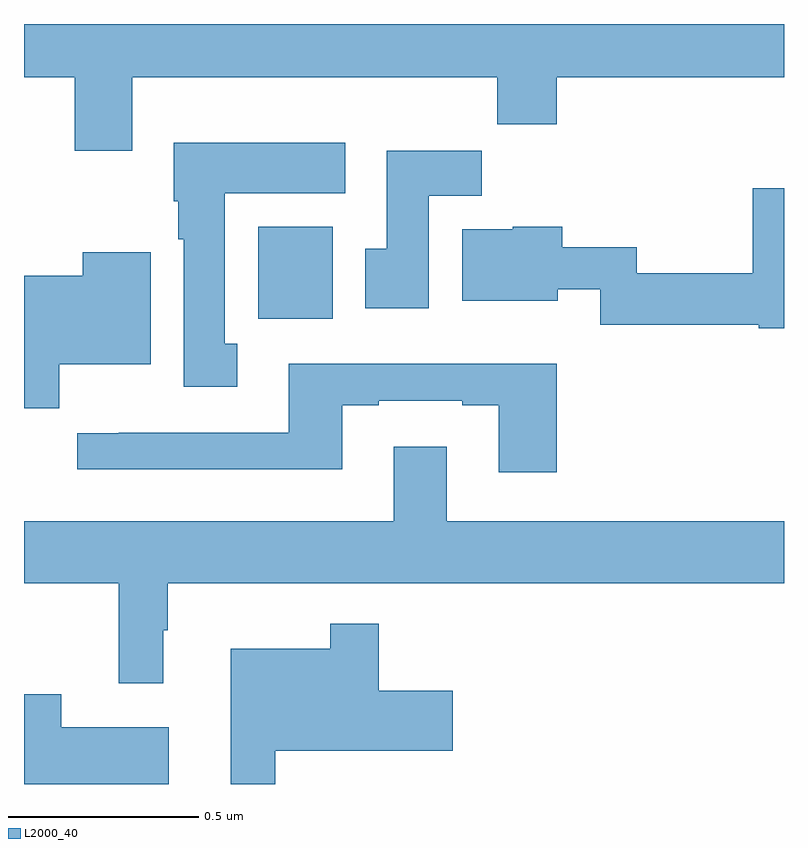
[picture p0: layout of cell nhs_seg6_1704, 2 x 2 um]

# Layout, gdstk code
import gdstk
lib = gdstk.Library(unit=1e-6, precision=1e-09)
def R(c, l, rs):  # rectangles x0, y0, x1, y1
    for r in rs: c.add(gdstk.rectangle(r[:2], r[2:], *l))
def P(c, l, *ps):  # polygons
    for p in ps: c.add(gdstk.Polygon(p, *l))
L2000_40 = (2000, 40)

nhs_seg6_1704 = lib.new_cell('nhs_seg6_1704')
R(nhs_seg6_1704, L2000_40, [(133.616,922.724,133.813,922.966)])
P(nhs_seg6_1704, L2000_40, [(133,923.36),(133.133,923.36),(133.133,923.166),(133.285,923.166),(133.285,923.36),(134.245,923.36),(134.245,923.236),(134.402,923.236),(134.402,923.36),(135,923.36),(135,923.5),(133,923.5)],
  [(133.561,922.658),(133.528,922.658),(133.528,923.054),(133.846,923.054),(133.846,923.188),(133.394,923.188),(133.394,923.034),(133.406,923.034),(133.406,922.934),(133.421,922.934),(133.421,922.545),(133.561,922.545)],
  [(134.065,923.048),(134.204,923.048),(134.204,923.167),(133.955,923.167),(133.955,922.908),(133.898,922.908),(133.898,922.752),(134.065,922.752)],
  [(135,923.068),(134.918,923.068),(134.918,922.844),(134.613,922.844),(134.613,922.912),(134.417,922.912),(134.417,922.966),(134.286,922.966),(134.286,922.96),(134.153,922.96),(134.153,922.772),(134.404,922.772),(134.404,922.802),(134.517,922.802),(134.517,922.708),(134.934,922.708),(134.934,922.7),(135,922.7)],
  [(133.093,922.604),(133.333,922.604),(133.333,922.9),(133.154,922.9),(133.154,922.837),(133,922.837),(133,922.489),(133.093,922.489)],
  [(134.402,922.606),(133.697,922.606),(133.697,922.425),(133.249,922.425),(133.249,922.423),(133.14,922.423),(133.14,922.328),(133.837,922.328),(133.837,922.497),(133.933,922.497),(133.933,922.509),(134.153,922.509),(134.153,922.497),(134.249,922.497),(134.249,922.32),(134.402,922.32)],
  [(133.366,921.905),(133.378,921.905),(133.378,922.028),(135,922.028),(135,922.192),(134.113,922.192),(134.113,922.387),(133.973,922.387),(133.973,922.192),(133,922.192),(133,922.028),(133.249,922.028),(133.249,921.765),(133.366,921.765)],
  [(133.661,921.587),(134.128,921.587),(134.128,921.745),(133.934,921.745),(133.934,921.922),(133.806,921.922),(133.806,921.856),(133.544,921.856),(133.544,921.5),(133.661,921.5)],
  [(133.381,921.649),(133.098,921.649),(133.098,921.736),(133,921.736),(133,921.5),(133.381,921.5)])

lib.write_gds('nhs_seg6_1704.gds')
